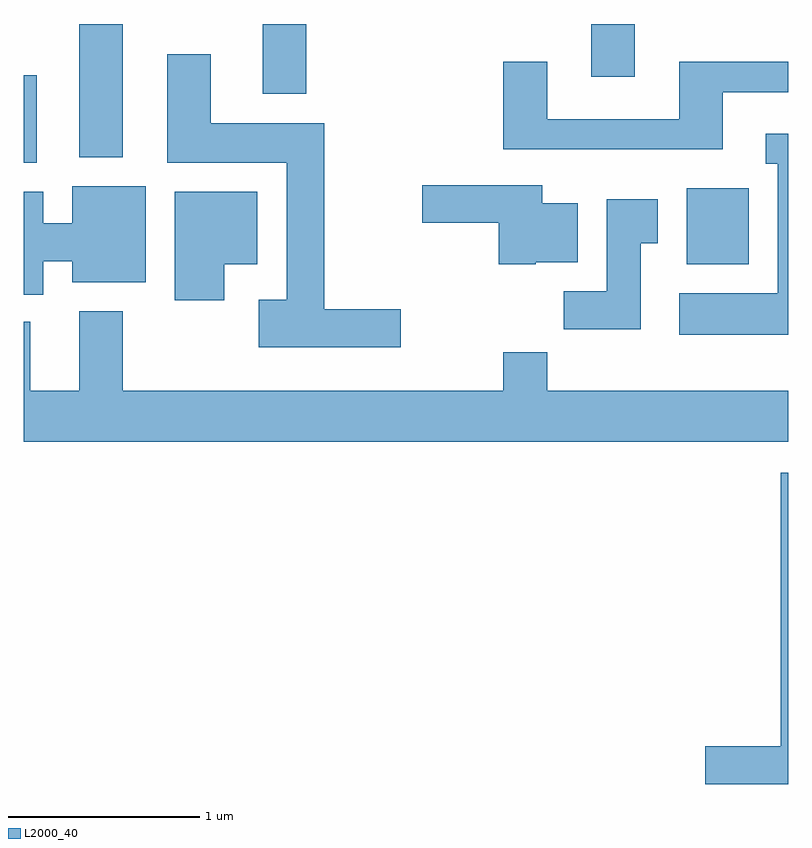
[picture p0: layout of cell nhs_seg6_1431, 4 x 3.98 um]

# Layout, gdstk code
import gdstk
lib = gdstk.Library(unit=1e-6, precision=1e-09)
def R(c, l, rs):  # rectangles x0, y0, x1, y1
    for r in rs: c.add(gdstk.rectangle(r[:2], r[2:], *l))
def P(c, l, *ps):  # polygons
    for p in ps: c.add(gdstk.Polygon(p, *l))
L2000_40 = (2000, 40)

nhs_seg6_1431 = lib.new_cell('nhs_seg6_1431')
R(nhs_seg6_1431, L2000_40, [(231.081,1610.906,231.404,1611.304), (227.611,1611.436,227.679,1611.894), (227.901,1611.466,228.129,1612.162), (228.861,1611.796,229.089,1612.162), (230.581,1611.886,230.809,1612.162)])
P(nhs_seg6_1431, L2000_40, [(229.584,1610.669),(229.184,1610.669),(229.184,1611.644),(228.589,1611.644),(228.589,1612.004),(228.361,1612.004),(228.361,1611.436),(228.986,1611.436),(228.986,1610.719),(228.841,1610.719),(228.841,1610.471),(229.584,1610.471)],
  [(231.269,1611.806),(231.611,1611.806),(231.611,1611.964),(231.041,1611.964),(231.041,1611.664),(230.349,1611.664),(230.349,1611.964),(230.121,1611.964),(230.121,1611.506),(231.269,1611.506)],
  [(231.611,1611.589),(231.493,1611.589),(231.493,1611.431),(231.556,1611.431),(231.556,1610.754),(231.041,1610.754),(231.041,1610.536),(231.611,1610.536)],
  [(230.29,1610.916),(230.509,1610.916),(230.509,1611.224),(230.324,1611.224),(230.324,1611.319),(229.696,1611.319),(229.696,1611.121),(230.096,1611.121),(230.096,1610.906),(230.29,1610.906)],
  [(227.714,1610.921),(227.866,1610.921),(227.866,1610.811),(228.249,1610.811),(228.249,1611.314),(227.866,1611.314),(227.866,1611.119),(227.714,1611.119),(227.714,1611.284),(227.611,1611.284),(227.611,1610.746),(227.714,1610.746)],
  [(228.659,1610.906),(228.834,1610.906),(228.834,1611.284),(228.401,1611.284),(228.401,1610.716),(228.659,1610.716)],
  [(230.839,1611.016),(230.929,1611.016),(230.929,1611.244),(230.661,1611.244),(230.661,1610.764),(230.436,1610.764),(230.436,1610.566),(230.839,1610.566)],
  [(231.611,1610.244),(230.349,1610.244),(230.349,1610.444),(230.121,1610.444),(230.121,1610.244),(228.129,1610.244),(228.129,1610.659),(227.901,1610.659),(227.901,1610.244),(227.644,1610.244),(227.644,1610.603),(227.611,1610.603),(227.611,1609.976),(231.611,1609.976)],
  [(231.611,1609.814),(231.571,1609.814),(231.571,1608.384),(231.176,1608.384),(231.176,1608.186),(231.611,1608.186)])

lib.write_gds('nhs_seg6_1431.gds')
